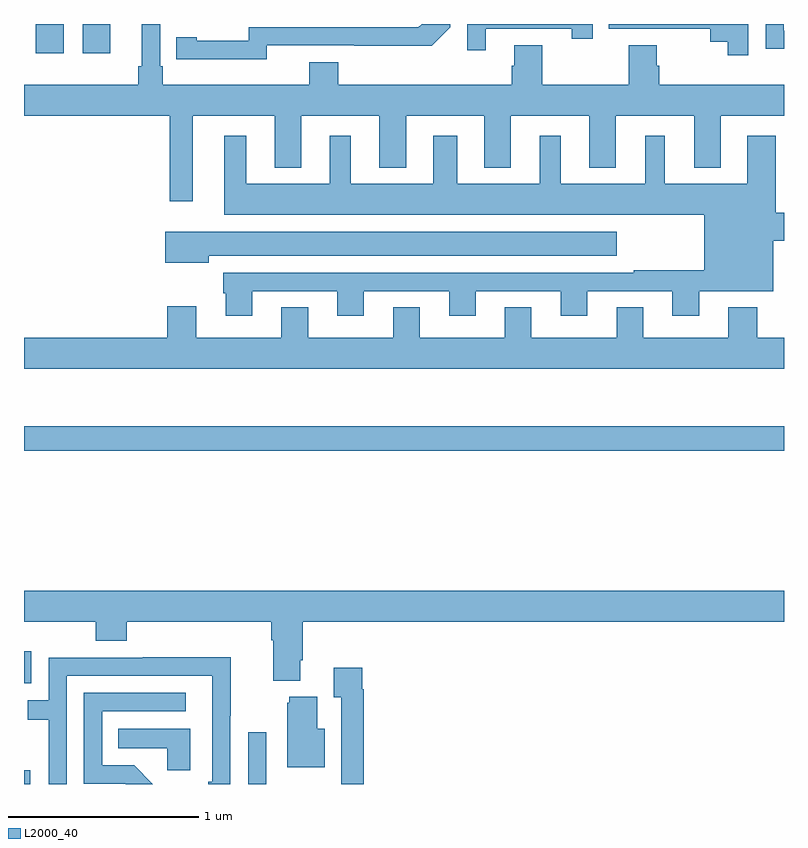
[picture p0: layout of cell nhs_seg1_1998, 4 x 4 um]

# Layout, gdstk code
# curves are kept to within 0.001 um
import gdstk
lib = gdstk.Library(unit=1e-6, precision=1e-09)
def R(c, l, rs):  # rectangles x0, y0, x1, y1
    for r in rs: c.add(gdstk.rectangle(r[:2], r[2:], *l))
def P(c, l, *ps):  # polygons
    for p in ps: c.add(gdstk.Polygon(p, *l))
L2000_40 = (2000, 40)

nhs_seg1_1998 = lib.new_cell('nhs_seg1_1998')
R(nhs_seg1_1998, L2000_40, [(219,564.199,219.034,564.271), (220.179,564.199,220.275,564.472), (219,564.729,219.039,564.898), (219,565.954,223,566.083), (219.062,568.044,219.208,568.199), (219.308,568.044,219.454,568.199)])
P(nhs_seg1_1998, L2000_40, [(221.431,568.173),(221.882,568.173),(221.882,568.122),(221.993,568.122),(221.993,568.199),(221.334,568.199),(221.334,568.062),(221.431,568.062)],
  [(223,568.164),(222.999,568.164),(222.999,568.199),(222.903,568.199),(222.903,568.068),(223,568.068)],
  [(220.278,568.086),(221.146,568.085),(221.244,568.182),(221.244,568.199),(221.093,568.199),(221.076,568.182),(220.182,568.182),(220.182,568.11),(219.91,568.11),(219.91,568.13),(219.802,568.13),(219.802,568.014),(220.278,568.013)],
  [(222.813,568.199),(222.078,568.199),(222.078,568.173),(222.612,568.173),(222.612,568.105),(222.705,568.105),(222.705,568.035),(222.813,568.035)],
  [(222.344,567.978),(222.331,567.978),(222.331,568.088),(222.184,568.088),(222.184,567.88),(221.727,567.88),(221.727,568.088),(221.579,568.088),(221.579,567.978),(221.567,567.978),(221.567,567.88),(220.655,567.88),(220.655,567.997),(220.502,567.997),(220.502,567.88),(219.731,567.88),(219.731,567.976),(219.717,567.976),(219.717,568.199),(219.62,568.199),(219.62,567.976),(219.601,567.976),(219.601,567.88),(219,567.88),(219,567.716),(219.768,567.716),(219.768,567.267),(219.889,567.267),(219.889,567.716),(220.319,567.716),(220.319,567.443),(220.459,567.443),(220.459,567.716),(220.871,567.716),(220.871,567.443),(221.011,567.443),(221.011,567.716),(221.423,567.716),(221.423,567.443),(221.563,567.443),(221.563,567.716),(221.975,567.716),(221.975,567.443),(222.115,567.443),(222.115,567.716),(222.527,567.716),(222.527,567.443),(222.667,567.443),(222.667,567.716),(223,567.716),(223,567.88),(222.344,567.88)],
  [(220.201,566.793),(220.649,566.793),(220.649,566.664),(220.789,566.664),(220.789,566.793),(221.237,566.793),(221.237,566.664),(221.377,566.664),(221.377,566.793),(221.825,566.793),(221.825,566.664),(221.965,566.664),(221.965,566.793),(222.413,566.793),(222.413,566.664),(222.553,566.664),(222.553,566.792),(222.943,566.792),(222.943,567.059),(223,567.059),(223,567.206),(222.956,567.206),(222.956,567.61),(222.806,567.61),(222.806,567.358),(222.373,567.358),(222.373,567.61),(222.269,567.61),(222.269,567.358),(221.824,567.358),(221.824,567.61),(221.714,567.61),(221.714,567.358),(221.281,567.358),(221.281,567.61),(221.153,567.61),(221.153,567.358),(220.72,567.358),(220.72,567.61),(220.61,567.61),(220.61,567.358),(220.171,567.358),(220.171,567.61),(220.055,567.61),(220.055,567.194),(222.581,567.194),(222.581,566.902),(222.208,566.902),(222.208,566.889),(220.049,566.889),(220.049,566.781),(220.061,566.781),(220.061,566.664),(220.201,566.664)],
  [(219.973,566.978),(222.121,566.978),(222.121,567.106),(219.744,567.106),(219.744,566.942),(219.973,566.942)],
  [(223,566.548),(222.86,566.548),(222.86,566.707),(222.707,566.707),(222.707,566.548),(222.259,566.548),(222.259,566.708),(222.119,566.708),(222.119,566.548),(221.671,566.548),(221.671,566.708),(221.531,566.708),(221.531,566.548),(221.083,566.548),(221.083,566.708),(220.943,566.708),(220.943,566.548),(220.495,566.548),(220.495,566.708),(220.355,566.708),(220.355,566.548),(219.907,566.548),(219.907,566.713),(219.755,566.713),(219.755,566.548),(219,566.548),(219,566.384),(223,566.384)],
  [(220.453,564.85),(220.466,564.85),(220.466,565.052),(223,565.052),(223,565.216),(219,565.216),(219,565.052),(219.377,565.052),(219.377,564.953),(219.542,564.953),(219.542,565.052),(220.301,565.052),(220.301,564.956),(220.313,564.956),(220.313,564.743),(220.453,564.743)],
  [(219.225,564.768),(219.99,564.768),(219.99,564.21),(219.971,564.21),(219.971,564.199),(220.086,564.199),(220.086,564.559),(220.089,564.559),(220.089,564.866),(219.625,564.866),(219.625,564.864),(219.129,564.864),(219.129,564.639),(219.019,564.639),(219.019,564.538),(219.129,564.538),(219.129,564.199),(219.225,564.199)],
  [(220.787,564.698),(220.78,564.698),(220.78,564.811),(220.631,564.811),(220.631,564.655),(220.671,564.655),(220.671,564.199),(220.787,564.199)],
  [(219.58,564.297),(219.411,564.297),(219.411,564.582),(219.85,564.582),(219.85,564.678),(219.315,564.678),(219.315,564.201),(219.534,564.201),(219.536,564.199),(219.678,564.199)],
  [(220.582,564.49),(220.543,564.49),(220.543,564.658),(220.397,564.658),(220.397,564.627),(220.385,564.627),(220.385,564.287),(220.582,564.287)],
  [(219.874,564.49),(219.496,564.49),(219.496,564.386),(219.753,564.386),(219.753,564.271),(219.874,564.271)])

lib.write_gds('nhs_seg1_1998.gds')
